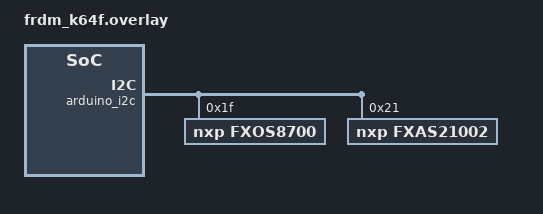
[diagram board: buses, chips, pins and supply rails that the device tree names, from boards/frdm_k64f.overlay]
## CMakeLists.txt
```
cmake_minimum_required(VERSION 3.13.1)
include($ENV{ZEPHYR_BASE}/cmake/app/boilerplate.cmake NO_POLICY_SCOPE)
project(orientation_api)

target_sources(app PRIVATE src/main.c)
```

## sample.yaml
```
sample:
  name: zscilib orientation hardware tester
tests:
  test:
    tags: zscilib
```

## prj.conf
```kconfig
CONFIG_SERIAL=y
CONFIG_FPU=y
CONFIG_THREAD_RUNTIME_STATS=y
CONFIG_NEWLIB_LIBC=y
CONFIG_NEWLIB_LIBC_FLOAT_PRINTF=y
CONFIG_INIT_STACKS=y
CONFIG_MAIN_STACK_SIZE=32768
CONFIG_SENSOR=y

CONFIG_ZSL=y
```

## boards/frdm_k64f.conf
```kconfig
CONFIG_I2C=y
CONFIG_SENSOR=y
CONFIG_CBPRINTF_FP_SUPPORT=y

# Accel, Mag, Temp
# Range is set via device tree
CONFIG_FXOS8700=y
CONFIG_FXOS8700_TEMP=y
CONFIG_FXOS8700_MODE_HYBRID=y
CONFIG_FXOS8700_TRIGGER_NONE=y

# Gyro
CONFIG_FXAS21002=y
CONFIG_FXAS21002_TRIGGER_NONE=y

# Range:
#  0: +/-2000 dps (62.5 mdps/LSB)  <- Default
#  1: +/-1000 dps (31.25 mdps/LSB)
#  2: +/-500 dps (15.625 mdps/LSB)
#  3: +/-250 dps (7.8125 mdps/LSB)
CONFIG_FXAS21002_RANGE=1

# Data Rate:
#  0: 800 Hz
#  1: 400 Hz
#  2: 200 Hz
#  3: 100 Hz   <- Default
#  4: 50 Hz
#  5: 25 Hz
#  6: 12.5 Hz
#  7: 12.5 Hz
CONFIG_FXAS21002_DR=3
```

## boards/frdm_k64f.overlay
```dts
/*
 * Copyright (c) 2021 Kevin Townsend
 *
 * SPDX-License-Identifier: Apache-2.0
 */

&arduino_i2c {
    /* Disable the on-board accel + mag */
    fxos8700@1d {
        status = "disabled";
    };
    /* Use the Adafruit 9DOF accel + mag. */
    fxos8700@1f {
        compatible = "nxp,fxos8700";
        reg = <0x1f>;
        range = <2>;
        label = "FXOS8700";
    };
    /* Use the Adafruit 9DOF gyro. */
    fxas21002@21 {
        compatible = "nxp,fxas21002";
        reg = <0x21>;
        label = "FXAS21002";
    };
};
```

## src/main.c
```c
/*
 * Copyright (c) 2021 Kevin Townsend
 *
 * SPDX-License-Identifier: Apache-2.0
 */

#include <stdio.h>
#include <zephyr.h>
#include <device.h>
#include <devicetree.h>
#include <drivers/sensor.h>
#include <zsl/zsl.h>
#include <zsl/orientation/orientation.h>
#include <zsl/instrumentation.h>

static const struct device *amtdev = DEVICE_DT_GET_ANY(nxp_fxos8700);
static const struct device *gdev = DEVICE_DT_GET_ANY(nxp_fxas21002);

void work_handler(struct k_work *work)
{
	struct sensor_value accel[3];
	struct sensor_value mag[3];
	struct sensor_value gyro[3];
	struct sensor_value die_temp;

	/* Read data from the sensors. */
	sensor_sample_fetch(amtdev);
	sensor_sample_fetch(gdev);
	sensor_channel_get(amtdev, SENSOR_CHAN_ACCEL_XYZ, accel);
	sensor_channel_get(amtdev, SENSOR_CHAN_MAGN_XYZ, mag);
	sensor_channel_get(amtdev, SENSOR_CHAN_DIE_TEMP, &die_temp);
	sensor_channel_get(gdev, SENSOR_CHAN_GYRO_XYZ, gyro);

	/* Print timestamp in ns. */
	printf("%d, ", k_uptime_get_32());

	/* Print accel data. */
	printf("%5.3f, %5.3f, %5.3f, ",
	       sensor_value_to_double(&accel[0]),
	       sensor_value_to_double(&accel[1]),
	       sensor_value_to_double(&accel[2]));

	/* Print mag data. */
	printf("%5.3f, %5.3f, %5.3f, ",
	       sensor_value_to_double(&mag[0]),
	       sensor_value_to_double(&mag[1]),
	       sensor_value_to_double(&mag[2]));

	/* Print gyro data. */
	printf("%5.3f, %5.3f, %5.3f, ",
	       sensor_value_to_double(&gyro[0]),
	       sensor_value_to_double(&gyro[1]),
	       sensor_value_to_double(&gyro[2]));

	/* Print temperature. */
	printf("%3.2f", sensor_value_to_double(&die_temp));

	printf("\n");
}

K_WORK_DEFINE(work, work_handler);

void sensor_timer_handler(struct k_timer *dummy)
{
	k_work_submit(&work);
}

K_TIMER_DEFINE(sensor_timer, sensor_timer_handler, NULL);

void main(void)
{
	/* Make sure the accel+mag was found and properly initialised. */
	if (amtdev == NULL || !device_is_ready(amtdev)) {
		printf("Could not get FXOS8700 device\n");
		return;
	}

	/* Make sure the gyro was found and properly initialised. */
	if (gdev == NULL || !device_is_ready(gdev)) {
		printf("Could not get FXAS21002 device\n");
		return;
	}

	printf("ns, ax, ay, az, mx, my, mz, gz, gy, gz, temp_c\n");

	/* Start sensor timer (20 ms / 50 Hz) */
	k_timer_start(&sensor_timer, K_MSEC(10), K_MSEC(10));

	while (1) {
		k_sleep(K_MSEC(100));
	}
}
```
